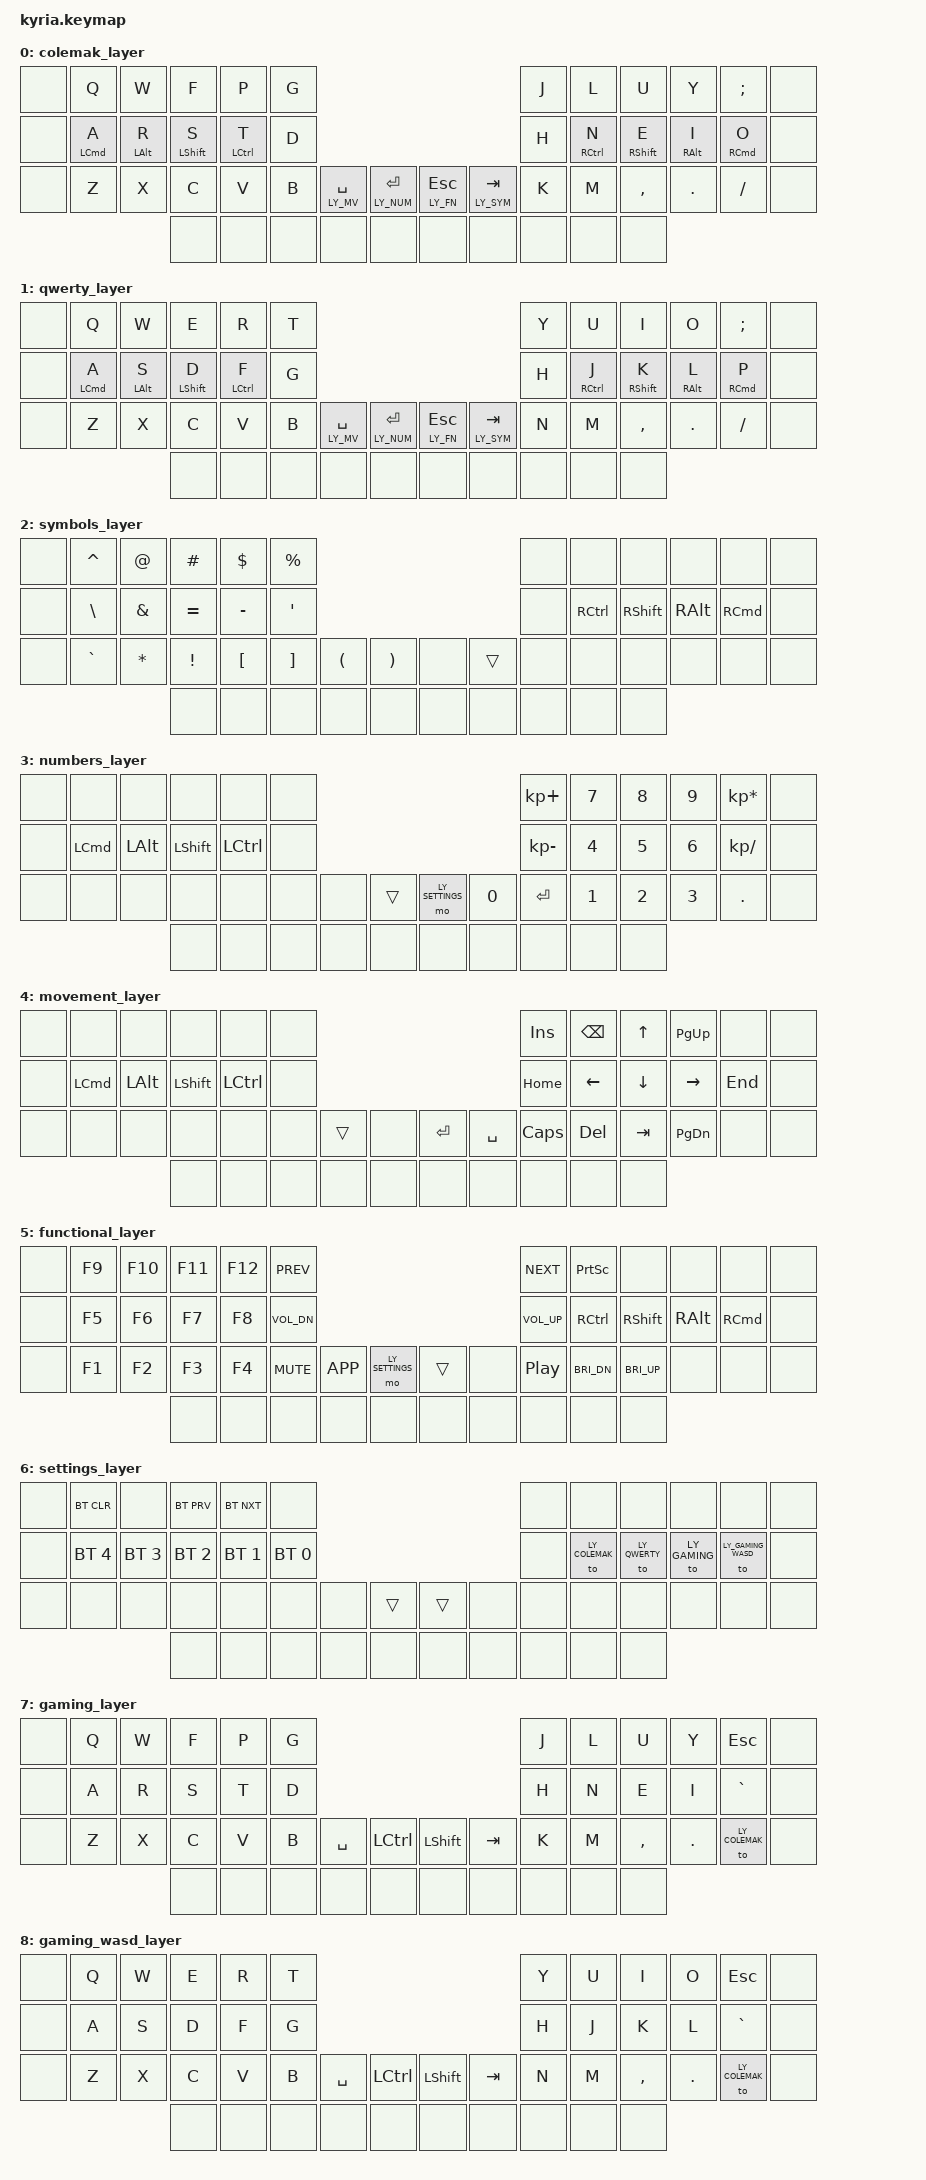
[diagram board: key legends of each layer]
/*
 * Copyright (c) 2020 The ZMK Contributors
 *
 * SPDX-License-Identifier: MIT
 */

#include <behaviors.dtsi>
#include <dt-bindings/zmk/keys.h>
#include <dt-bindings/zmk/bt.h>

#define LY_COLEMAK 0
#define LY_QWERTY 1
#define LY_SYM 2
#define LY_NUM 3
#define LY_MV 4
#define LY_FN 5
#define LY_SETTINGS 6
#define LY_GAMING 7
#define LY_GAMING_WASD 8

&kscan0 {
	debounce-period = <20>;
};

&lt {
	tapping-term-ms = <150>;
};

/ {
	behaviors {
		hm: homerow_mods {
			compatible = "zmk,behavior-hold-tap";
			label = "HOMEROW_MODS";
			#binding-cells = <2>;
			tapping-term-ms = <150>;
			quick_tap_ms = <0>;
			flavor = "tap-preferred";
			bindings = <&kp>, <&kp>;
		};
	};

	keymap {
		compatible = "zmk,keymap";

		// LY_COLEMAK
		colemak_layer {
			bindings = <
	&none &kp Q      &kp W      &kp F        &kp P       &kp G                                                             &kp J &kp L       &kp U        &kp Y      &kp SEMI   &none
	&none &hm LCMD A &hm LALT R &hm LSHIFT S &hm LCTRL T &kp D                                                             &kp H &hm RCTRL N &hm RSHIFT E &hm RALT I &hm RCMD O &none
	&none &kp Z      &kp X      &kp C        &kp V       &kp B &lt LY_MV SPACE &lt LY_NUM RET &lt LY_FN ESC &lt LY_SYM TAB &kp K &kp M       &kp COMMA    &kp DOT    &kp FSLH   &none
	                            &none        &none       &none &none           &none          &none         &none          &none &none       &none
			>;
		};

		// LY_QWERTY
		qwerty_layer {
			bindings = <
	&none &kp Q      &kp W      &kp E        &kp R       &kp T                                                             &kp Y &kp U       &kp I        &kp O      &kp SEMI   &none
	&none &hm LCMD A &hm LALT S &hm LSHIFT D &hm LCTRL F &kp G                                                             &kp H &hm RCTRL J &hm RSHIFT K &hm RALT L &hm RCMD P &none
	&none &kp Z      &kp X      &kp C        &kp V       &kp B &lt LY_MV SPACE &lt LY_NUM RET &lt LY_FN ESC &lt LY_SYM TAB &kp N &kp M       &kp COMMA    &kp DOT    &kp FSLH   &none
	                            &none        &none       &none &none           &none          &none         &none          &none &none       &none
			>;
		};

		// LY_SYM
		symbols_layer {
			bindings = <
	&none &kp CARET &kp AT    &kp HASH  &kp DLLR  &kp PRCNT                                &none &none     &none     &none    &none    &none
	&none &kp BSLH  &kp AMPS  &kp EQUAL &kp MINUS &kp SQT                                  &none &kp RCTRL &kp RSHFT &kp RALT &kp RCMD &none
	&none &kp GRAVE &kp ASTRK &kp EXCL  &kp LBKT  &kp RBKT  &kp LPAR &kp RPAR &none &trans &none &none     &none     &none    &none    &none
	                          &none     &none     &none     &none    &none    &none &none  &none &none     &none
			>;
		};

		// LY_NUM
		numbers_layer {
			bindings = <
	&none &none    &none    &none     &none     &none                                     &kp KP_PLUS  &kp N7 &kp N8 &kp N9 &kp KP_MULTIPLY &none
	&none &kp LCMD &kp LALT &kp LSHFT &kp LCTRL &none                                     &kp KP_MINUS &kp N4 &kp N5 &kp N6 &kp KP_DIVIDE   &none
	&none &none    &none    &none     &none     &none &none &trans &mo LY_SETTINGS &kp N0 &kp RET      &kp N1 &kp N2 &kp N3 &kp DOT         &none
	                        &none     &none     &none &none &none  &none           &none  &none        &none  &none
			>;
		};

		// LY_MV
		movement_layer {
			bindings = <
	&none &none    &none    &none     &none     &none                                &kp INS  &kp BSPC &kp UP   &kp PG_UP &none   &none
	&none &kp LCMD &kp LALT &kp LSHFT &kp LCTRL &none                                &kp HOME &kp LEFT &kp DOWN &kp RIGHT &kp END &none
	&none &none    &none    &none     &none     &none &trans &none &kp RET &kp SPACE &kp CAPS &kp DEL  &kp TAB  &kp PG_DN &none   &none
	                        &none     &none     &none &none  &none &none   &none     &none    &none    &none
			>;
		};

		// LY_FN
		functional_layer {
			bindings = <
	&none &kp F9 &kp F10 &kp F11 &kp F12 &kp C_PREV                                          &kp C_NEXT   &kp PSCRN    &none        &none    &none    &none
	&none &kp F5 &kp F6  &kp F7  &kp F8  &kp C_VOL_DN                                        &kp C_VOL_UP &kp RCTRL    &kp RSHFT    &kp RALT &kp RCMD &none
	&none &kp F1 &kp F2  &kp F3  &kp F4  &kp C_MUTE   &kp K_APP &mo LY_SETTINGS &trans &none &kp C_PP     &kp C_BRI_DN &kp C_BRI_UP &none    &none    &none
	                     &none   &none   &none        &none     &none           &none  &none &none        &none        &none
			>;
		};

		// LY_SETTINGS
		settings_layer {
			bindings = <
	&none &bt BT_CLR   &none        &bt BT_PRV   &bt BT_NXT   &none                                  &none &none          &none         &none         &none              &none
	&none &bt BT_SEL 4 &bt BT_SEL 3 &bt BT_SEL 2 &bt BT_SEL 1 &bt BT_SEL 0                           &none &to LY_COLEMAK &to LY_QWERTY &to LY_GAMING &to LY_GAMING_WASD &none
	&none &none        &none        &none        &none        &none        &none &trans &trans &none &none &none          &none         &none         &none              &none
	                                &none        &none        &none        &none &none  &none  &none &none &none          &none
			>;
		};

		// LY_GAMING
		gaming_layer {
			bindings = <
	&none &kp Q &kp W &kp F &kp P &kp G                                       &kp J &kp L &kp U     &kp Y   &kp ESC        &none
	&none &kp A &kp R &kp S &kp T &kp D                                       &kp H &kp N &kp E     &kp I   &kp GRAVE      &none
	&none &kp Z &kp X &kp C &kp V &kp B &kp SPACE &kp LCTRL &kp LSHFT &kp TAB &kp K &kp M &kp COMMA &kp DOT &to LY_COLEMAK &none
	                  &none &none &none &none     &none     &none     &none   &none &none &none
			>;
		};

		// LY_GAMING_WASD
		gaming_wasd_layer {
			bindings = <
	&none &kp Q &kp W &kp E &kp R &kp T                                       &kp Y &kp U &kp I     &kp O   &kp ESC        &none
	&none &kp A &kp S &kp D &kp F &kp G                                       &kp H &kp J &kp K     &kp L   &kp GRAVE      &none
	&none &kp Z &kp X &kp C &kp V &kp B &kp SPACE &kp LCTRL &kp LSHFT &kp TAB &kp N &kp M &kp COMMA &kp DOT &to LY_COLEMAK &none
	                  &none &none &none &none     &none     &none     &none   &none &none &none
			>;
		};
	};
};
